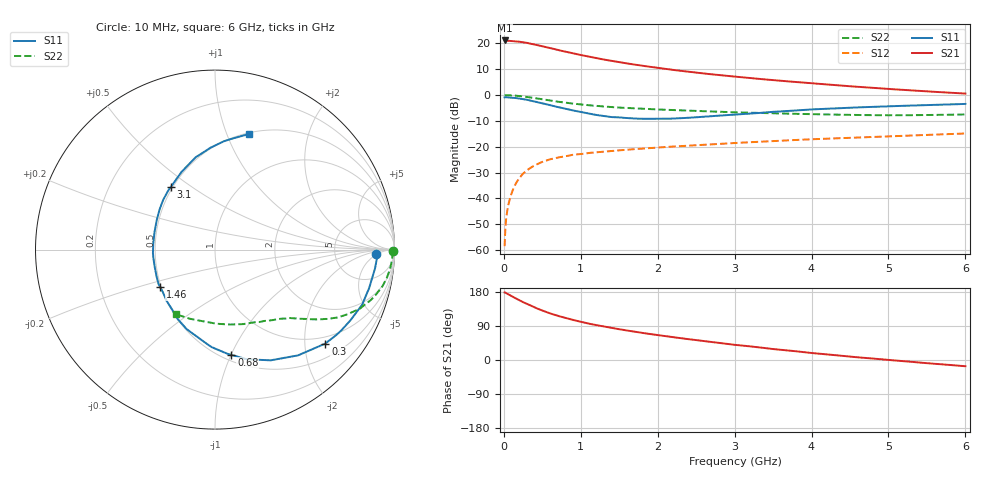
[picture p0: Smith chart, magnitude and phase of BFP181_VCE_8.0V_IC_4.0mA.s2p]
! Infineon Technologies  Discrete & RF Semiconductors
! BFP181
! VCE = 8.0 V,  IC =  4.0 mA
! Common Emitter S-Parameters:  Jan 2016
# GHz  S  MA  R  50
!  f  S11  S21  S12  S22
! GHz  MAG  ANG  MAG  ANG  MAG  ANG  MAG  ANG
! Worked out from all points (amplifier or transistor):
!   210 points, 10 MHz to 6 GHz, reference 50 ohm
!   highest |S21| = 21.1 dB at 10 MHz (marker M1)
!   |S21| within 3 dB of that: start of sweep to 614.7 MHz
!   unconditionally stable (mu >= 1): 2.012 GHz to end of sweep
!   at 185 MHz: K = 0.14, MSG = 26.7 dB, |S12| = -32.8 dB
!   at 1.52 GHz: K = 0.85, MSG = 17.0 dB, |S12| = -21.4 dB
!   at 6 GHz: K = 1.07, MAG = 6.0 dB, |S12| = -14.9 dB
!   S11 on the Smith chart (normalised r, x): 10 MHz: 17, -4; 300 MHz: 0.82, -2.48; 680 MHz: 0.55, -1.00; 1.46 GHz: 0.49, -0.24; 3.1 GHz: 0.49, +0.41; 6 GHz: 0.51, +1.20
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0.01  0.8973 -1.6  11.29 178.3  0.0012 86.0  0.991 -0.6
0.02  0.9043 -2.7  11.26 177.8  0.0027 85.2  0.9886 -1.2
0.03  0.9016 -4.0  11.21 176.6  0.004 88.1  0.9884 -1.9
0.08  0.8886 -11.0  11.03 170.9  0.0101 83.0  0.9837 -5.1
0.2  0.8519 -27.4  10.67 157.9  0.0246 74.7  0.955 -12.4
0.26  0.8263 -35.2  10.33 151.7  0.0312 70.0  0.9306 -15.7
0.3  0.8075 -40.4  10.13 148.2  0.035 67.7  0.9147 -17.7
0.4  0.7491 -51.9  9.438 138.5  0.0437 61.8  0.8712 -22.2
0.5  0.6906 -63.3  8.711 130.2  0.051 56.9  0.8247 -25.8
0.6  0.6369 -73.7  8.1 123.0  0.0571 52.8  0.7817 -28.9
0.68  0.594 -81.1  7.525 118.0  0.0608 50.1  0.7502 -30.8
0.82  0.5344 -93.6  6.777 109.8  0.0663 46.4  0.703 -33.5
1.02  0.4634 -111.2  5.823 99.9  0.0727 42.5  0.6511 -36.6
1.2  0.4112 -125.3  5.158 92.2  0.078 39.8  0.6151 -38.9
1.46  0.3703 -145.6  4.407 82.6  0.0843 37.5  0.5756 -41.6
1.76  0.3475 -167.7  3.739 72.8  0.0911 35.9  0.5446 -44.9
2.02  0.3454 175.2  3.298 65.2  0.0968 34.3  0.5229 -47.7
2.6  0.38 144.8  2.596 50.1  0.1094 31.8  0.4838 -55.2
3.1  0.4263 125.5  2.191 38.1  0.1201 29.1  0.458 -62.6
4.1  0.5326 99.9  1.639 16.7  0.1412 23.5  0.4222 -80.6
5.1  0.6116 84.0  1.278 -1.5  0.1599 18.2  0.4051 -101.4
6  0.671 73.6  1.063 -16.5  0.1801 12.9  0.4204 -121.0
